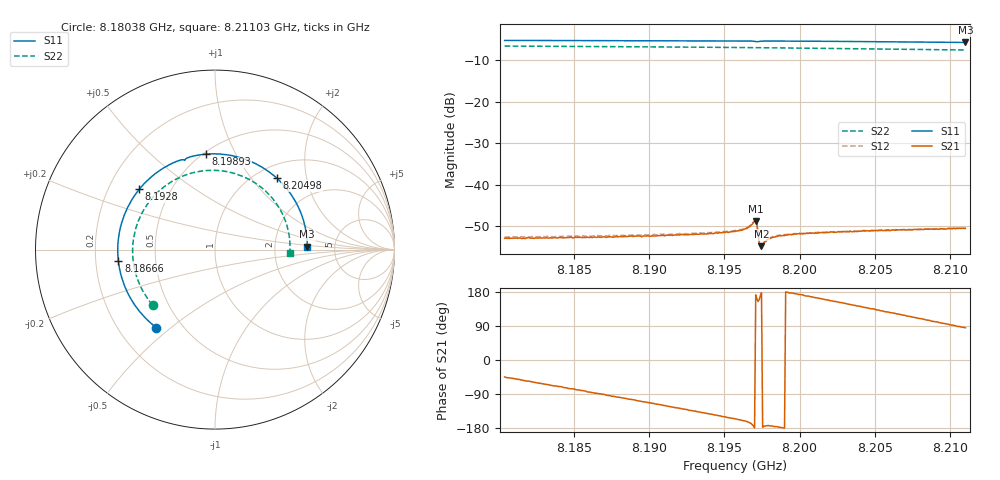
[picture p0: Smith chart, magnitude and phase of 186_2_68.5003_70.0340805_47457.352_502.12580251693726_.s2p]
#  HZ  S  RI  R  50.00
! Rohde & Schwarz Vector Network Analyzer
! Rohde-Schwarz,ZNB20-2Port,1311601062101988,3.16
! Created: UTC 3/20/2024, 4:56:55 PM
! freq[Hz]  re:S11  im:S11  re:S21  im:S21  re:S12  im:S12  re:S22  im:S22
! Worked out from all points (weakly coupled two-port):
!   401 points, 8.18038 GHz to 8.21103 GHz, reference 50 ohm
!   highest |S21| = -48.84 dB at 8.19709 GHz (marker M1); lowest = -54.9 dB at 8.19747 GHz (marker M2)
!   lowest |S11| = -5.8 dB at 8.21103 GHz (marker M3), VSWR 3.12, Z = 156 + j6.87 ohm
!   |S11| at or under -10 dB: nowhere
!   |S22| runs from -7.6 to -6.6 dB; largest |S21 - S12| = 0.00018
!   S11 on the Smith chart (normalised r, x): 8.18038 GHz: 0.36, -0.45; 8.18666 GHz: 0.30, -0.06; 8.1928 GHz: 0.33, +0.32; 8.19893 GHz: 0.51, +0.77; 8.20498 GHz: 1.22, +1.35; 8.21103 GHz: 3.11, +0.14
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8.180381e9  -0.327 -0.4344  0.0016 -0.00158  0.00164 -0.00169  -0.3476 -0.3096
8.183063e9  -0.4535 -0.2992  0.001 -0.00203  0.00101 -0.00211  -0.4251 -0.1823
8.185515e9  -0.5231 -0.1442  0.000393 -0.00226  0.000345 -0.00232  -0.4574 -0.0505
8.186665e9  -0.5382 -0.0655  5.32e-05 -0.00232  -1.99e-06 -0.00239  -0.4587 0.0133
8.188657e9  -0.5365 0.0735  -0.000542 -0.00231  -0.000587 -0.00238  -0.4403 0.122
8.19065e9  -0.4991 0.2077  -0.00112 -0.00216  -0.0012 -0.0022  -0.396 0.223
8.192796e9  -0.4218 0.3363  -0.00171 -0.00183  -0.00181 -0.00183  -0.3222 0.3164
8.195708e9  -0.265 0.4674  -0.00247 -0.00114  -0.00257 -0.00109  -0.1878 0.4062
8.196397e9  -0.2205 0.4889  -0.00278 -0.000955  -0.00288 -0.000828  -0.1516 0.4198
8.196934e9  -0.1815 0.5008  -0.00345 -0.000385  -0.00355 -0.000239  -0.1225 0.4282
8.197011e9  -0.1756 0.5008  -0.0036 -5.19e-05  -0.00364 0.00012  -0.1184 0.4292
8.197087e9  -0.1704 0.4992  -0.00358 0.000511  -0.00364 0.000637  -0.1142 0.4301
8.197394e9  -0.1612 0.5069  -0.00179 0.000331  -0.00182 0.0004  -0.0977 0.4339
8.19747e9  -0.1559 0.51  -0.00181 8.4e-05  -0.00186 0.000147  -0.0934 0.4347
8.198007e9  -0.1172 0.5221  -0.00222 -0.000242  -0.00229 -0.00017  -0.0635 0.4393
8.198926e9  -0.0519 0.5319  -0.00243 -2.95e-05  -0.00248 7.78e-05  -0.0115 0.4419
8.200842e9  0.0833 0.5255  -0.00253 0.000605  -0.00248 0.00071  0.0963 0.4278
8.202835e9  0.2172 0.4829  -0.00236 0.0013  -0.00232 0.0014  0.2017 0.385
8.204981e9  0.3433 0.399  -0.00194 0.002  -0.00188 0.00209  0.2992 0.3087
8.205977e9  0.3925 0.3481  -0.00161 0.00227  -0.00157 0.00234  0.3367 0.2642
8.208582e9  0.4845 0.1882  -0.000749 0.00279  -0.000662 0.00285  0.4032 0.1255
8.211035e9  0.5143 0.0162  0.000259 0.00295  0.000344 0.00297  0.4169 -0.0213
